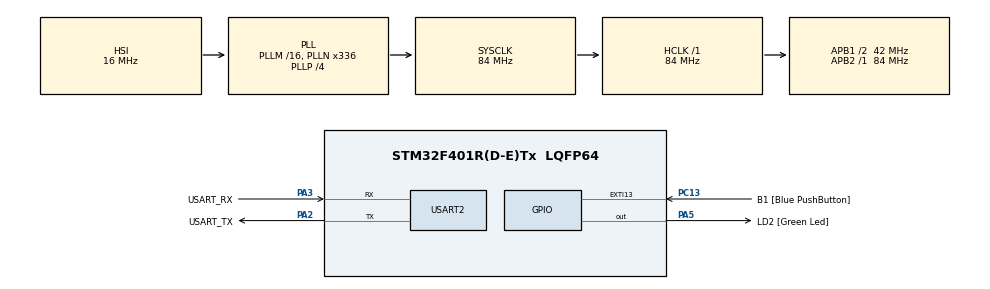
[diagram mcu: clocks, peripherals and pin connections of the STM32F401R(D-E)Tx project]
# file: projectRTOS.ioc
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Mcu.Family=STM32F4
Mcu.Name=STM32F401R(D-E)Tx
Mcu.Package=LQFP64
NVIC.PriorityGroup=NVIC_PRIORITYGROUP_0
PA13.GPIO_Label=TMS
PA13.Mode=Serial_Wire
PA13.Signal=SYS_JTMS-SWDIO
PA14.GPIO_Label=TCK
PA14.Mode=Serial_Wire
PA14.Signal=SYS_JTCK-SWCLK
PA2.GPIO_Label=USART_TX
PA2.GPIO_Mode=GPIO_MODE_AF_PP
PA2.GPIO_PuPd=GPIO_NOPULL
PA2.GPIO_Speed=GPIO_SPEED_FREQ_LOW
PA2.Mode=Asynchronous
PA2.Signal=USART2_TX
PA3.GPIO_Label=USART_RX
PA3.GPIO_Mode=GPIO_MODE_AF_PP
PA3.GPIO_PuPd=GPIO_NOPULL
PA3.GPIO_Speed=GPIO_SPEED_FREQ_LOW
PA3.Mode=Asynchronous
PA3.Signal=USART2_RX
PA5.GPIO_Label=LD2 [Green Led]
PA5.GPIO_Mode=GPIO_MODE_OUTPUT_PP
PA5.GPIO_PuPd=GPIO_NOPULL
PA5.GPIO_Speed=GPIO_SPEED_FREQ_LOW
PA5.Signal=GPIO_Output
PB3.GPIO_Label=SWO
PB3.Signal=SYS_JTDO-SWO
PC13-ANTI_TAMP.GPIO_Label=B1 [Blue PushButton]
PC13-ANTI_TAMP.GPIO_ModeDefaultEXTI=GPIO_MODE_IT_FALLING
PC13-ANTI_TAMP.GPIO_PuPd=GPIO_NOPULL
PC13-ANTI_TAMP.Signal=GPXTI13
PC14-OSC32_IN.Mode=LSE-External-Oscillator
PC14-OSC32_IN.Signal=RCC_OSC32_IN
PC15-OSC32_OUT.Mode=LSE-External-Oscillator
PC15-OSC32_OUT.Signal=RCC_OSC32_OUT
PH0\ -\ OSC_IN.Mode=HSE-External-Clock-Source
PH0\ -\ OSC_IN.Signal=RCC_OSC_IN
PH1\ -\ OSC_OUT.Mode=HSE-External-Clock-Source
PH1\ -\ OSC_OUT.Signal=RCC_OSC_OUT
ProjectManager.HeapSize=0x200
ProjectManager.StackSize=0x400
ProjectManager.TargetToolchain=STM32CubeIDE
RCC.48MHZClocksFreq_Value=48000000
RCC.AHBFreq_Value=84000000
RCC.APB1CLKDivider=RCC_HCLK_DIV2
RCC.APB1Freq_Value=42000000
RCC.APB1TimFreq_Value=84000000
RCC.APB2Freq_Value=84000000
RCC.APB2TimFreq_Value=84000000
RCC.CortexFreq_Value=84000000
RCC.HCLKFreq_Value=84000000
RCC.HSE_VALUE=8000000
RCC.HSI_VALUE=16000000
RCC.PLLN=336
RCC.PLLP=RCC_PLLP_DIV4
RCC.PLLQ=7
RCC.SYSCLKFreq_VALUE=84000000
RCC.SYSCLKSource=RCC_SYSCLKSOURCE_PLLCLK
RCC.VCOOutputFreq_Value=336000000
USART2.VirtualMode=VM_ASYNC
board=NUCLEO-F401RE

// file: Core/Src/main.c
/* USER CODE BEGIN Header */
/**
  ******************************************************************************
  * @file           : main.c
  * @brief          : Main program body
  ******************************************************************************
  * @attention
  *
  * Copyright (c) 2023 STMicroelectronics.
  * All rights reserved.
  *
  * This software is licensed under terms that can be found in the LICENSE file
  * in the root directory of this software component.
  * If no LICENSE file comes with this software, it is provided AS-IS.
  *
  ******************************************************************************
  */
/* USER CODE END Header */
#include "main.h"
#include "kernel.h"
#include<stdio.h>
uint32_t global_tick = 0;
extern void runFirstThread(void);
uint32_t* stackptr;
uint32_t num_threads = 0;

UART_HandleTypeDef huart2;

void SystemClock_Config(void);
static void MX_GPIO_Init(void);
static void MX_USART2_UART_Init(void);
/* USER CODE BEGIN PFP */
int __io_putchar(int ch)
{
	HAL_UART_Transmit(&huart2,(uint8_t*)&ch,1,HAL_MAX_DELAY);
	return ch;
}

void print_continuously(){
	while(1){
		printf("%d\r\n", global_tick);
		for(int i = 0; i < 23000; i++){
		}
		osYield();
	}
}

typedef struct {
    int val1;
    int val2;
} simple_struct;

void print_again(void* args){
	simple_struct input = *(simple_struct*)args;
	while(1){
		printf("%x\r\n", input.val1);

		for(int i = 0; i < 23000; i++){

		}
	}
}

void jumpAssembly(void* fcn){
	__asm("MOV PC, R0");
}

void print_hello(void)
{
	__asm("SVC #17");
}

void print_world(void)
{
	__asm("SVC #0");
}

void first_thread(void){
	__asm("SVC #3");
}

/* USER CODE END PFP */

int main(void)
{

  /* MCU Configuration--------------------------------------------------------*/

  /* Reset of all peripherals, Initializes the Flash interface and the Systick. */
  HAL_Init();

  /* Configure the system clock */
  SystemClock_Config();

  /* USER CODE BEGIN SysInit */
//  char m = 'm';
//  HAL_UART_Transmit(&huart2,&m,1,HAL_MAX_DELAY);
  /* USER CODE END SysInit */

  /* Initialize all configured peripherals */
  MX_GPIO_Init();
  MX_USART2_UART_Init();

//  printf("MSP Init is: %p\n\r",MSP_INIT_VAL); //note the %p to print a pointer. It will be in hex

  // Output was: MSP Init is: 0x20020000

  //jumpAssembly((void*)print_continuously);
  osKernelInitialize();

  if(osCreateThread((void*)print_continuously, 0xA)){
	  num_threads++;
  }
  simple_struct test;
  void* ptr;
  test.val1 = 12345;
  ptr = &test;
  if(osThreadCreateWithDeadline((void*)print_again, ptr, 200)){
	  num_threads++;
  }

  osKernelStart();
//  __set_CONTROL((uint32_t)2);

  /* Infinite loop */
  while (1)
  {
	//first_thread();
  }
}

void SystemClock_Config(void)
{
  RCC_OscInitTypeDef RCC_OscInitStruct = {0};
  RCC_ClkInitTypeDef RCC_ClkInitStruct = {0};

  /** Configure the main internal regulator output voltage
  */
  __HAL_RCC_PWR_CLK_ENABLE();
  __HAL_PWR_VOLTAGESCALING_CONFIG(PWR_REGULATOR_VOLTAGE_SCALE1);

  /** Initializes the RCC Oscillators according to the specified parameters
  * in the RCC_OscInitTypeDef structure.
  */
  RCC_OscInitStruct.OscillatorType = RCC_OSCILLATORTYPE_HSI;
  RCC_OscInitStruct.HSIState = RCC_HSI_ON;
  RCC_OscInitStruct.HSICalibrationValue = RCC_HSICALIBRATION_DEFAULT;
  RCC_OscInitStruct.PLL.PLLState = RCC_PLL_ON;
  RCC_OscInitStruct.PLL.PLLSource = RCC_PLLSOURCE_HSI;
  RCC_OscInitStruct.PLL.PLLM = 16;
  RCC_OscInitStruct.PLL.PLLN = 336;
  RCC_OscInitStruct.PLL.PLLP = RCC_PLLP_DIV4;
  RCC_OscInitStruct.PLL.PLLQ = 4;
  if (HAL_RCC_OscConfig(&RCC_OscInitStruct) != HAL_OK)
  {
    Error_Handler();
  }

  /** Initializes the CPU, AHB and APB buses clocks
  */
  RCC_ClkInitStruct.ClockType = RCC_CLOCKTYPE_HCLK|RCC_CLOCKTYPE_SYSCLK
                              |RCC_CLOCKTYPE_PCLK1|RCC_CLOCKTYPE_PCLK2;
  RCC_ClkInitStruct.SYSCLKSource = RCC_SYSCLKSOURCE_PLLCLK;
  RCC_ClkInitStruct.AHBCLKDivider = RCC_SYSCLK_DIV1;
  RCC_ClkInitStruct.APB1CLKDivider = RCC_HCLK_DIV2;
  RCC_ClkInitStruct.APB2CLKDivider = RCC_HCLK_DIV1;

  if (HAL_RCC_ClockConfig(&RCC_ClkInitStruct, FLASH_LATENCY_2) != HAL_OK)
  {
    Error_Handler();
  }
}

static void MX_USART2_UART_Init(void)
{

  huart2.Instance = USART2;
  huart2.Init.BaudRate = 115200;
  huart2.Init.WordLength = UART_WORDLENGTH_8B;
  huart2.Init.StopBits = UART_STOPBITS_1;
  huart2.Init.Parity = UART_PARITY_NONE;
  huart2.Init.Mode = UART_MODE_TX_RX;
  huart2.Init.HwFlowCtl = UART_HWCONTROL_NONE;
  huart2.Init.OverSampling = UART_OVERSAMPLING_16;
  if (HAL_UART_Init(&huart2) != HAL_OK)
  {
    Error_Handler();
  }
  /* USER CODE BEGIN USART2_Init 2 */
//  printf("Hello, world!\r\n"); //\r\n means “newline and return”
  /* USER CODE END USART2_Init 2 */

}

static void MX_GPIO_Init(void)
{
  GPIO_InitTypeDef GPIO_InitStruct = {0};

  /* GPIO Ports Clock Enable */
  __HAL_RCC_GPIOC_CLK_ENABLE();
  __HAL_RCC_GPIOH_CLK_ENABLE();
  __HAL_RCC_GPIOA_CLK_ENABLE();
  __HAL_RCC_GPIOB_CLK_ENABLE();

  /*Configure GPIO pin Output Level */
  HAL_GPIO_WritePin(LD2_GPIO_Port, LD2_Pin, GPIO_PIN_RESET);

  /*Configure GPIO pin : B1_Pin */
  GPIO_InitStruct.Pin = B1_Pin;
  GPIO_InitStruct.Mode = GPIO_MODE_IT_FALLING;
  GPIO_InitStruct.Pull = GPIO_NOPULL;
  HAL_GPIO_Init(B1_GPIO_Port, &GPIO_InitStruct);

  /*Configure GPIO pin : LD2_Pin */
  GPIO_InitStruct.Pin = LD2_Pin;
  GPIO_InitStruct.Mode = GPIO_MODE_OUTPUT_PP;
  GPIO_InitStruct.Pull = GPIO_NOPULL;
  GPIO_InitStruct.Speed = GPIO_SPEED_FREQ_LOW;
  HAL_GPIO_Init(LD2_GPIO_Port, &GPIO_InitStruct);

}

void Error_Handler(void)
{
  __disable_irq();
  while (1)
  {
  }
}
